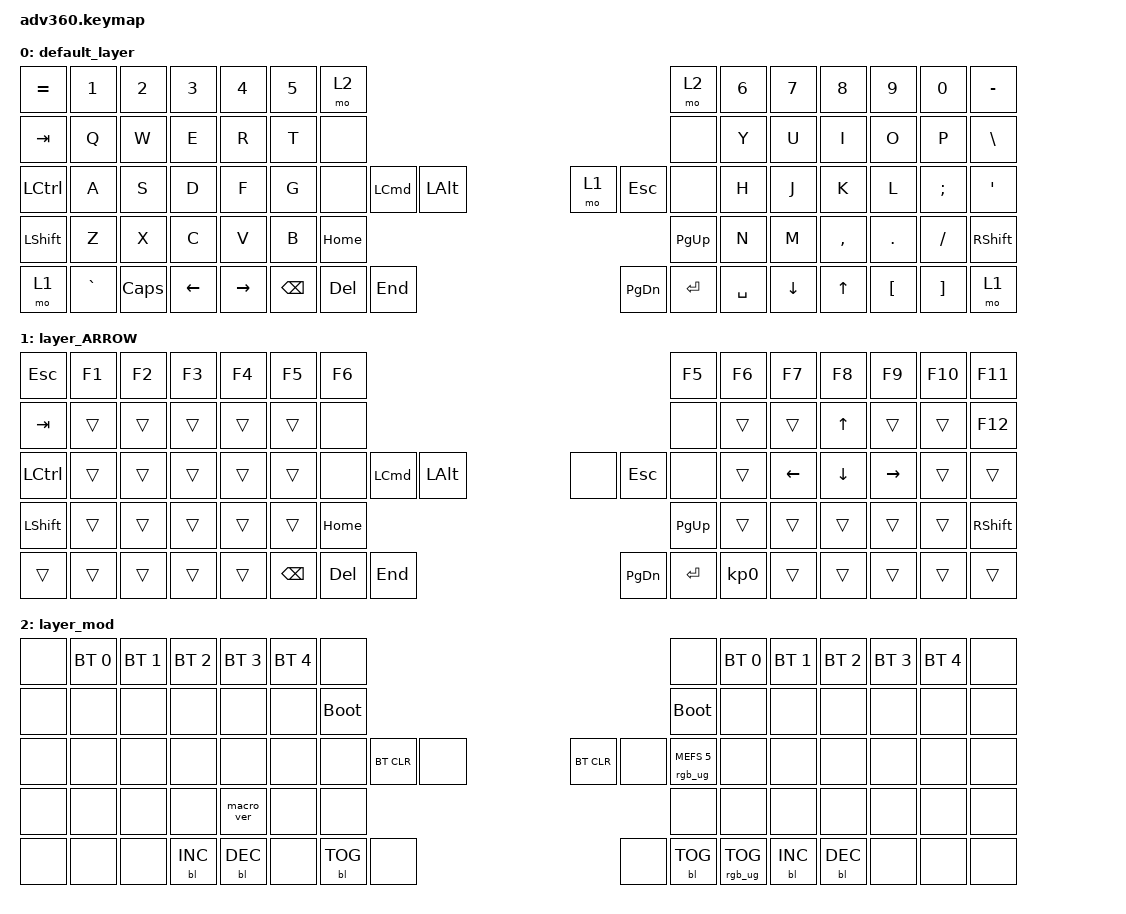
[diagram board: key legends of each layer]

/*
 * Copyright (c) 2020 The ZMK Contributors
 *
 * SPDX-License-Identifier: MIT
 */


/* THIS FILE WAS GENERATED!
 *
 * This file was generated automatically. You may or may not want to
 * edit it directly.
 */

#include <behaviors.dtsi>
#include <dt-bindings/zmk/keys.h>
#include <dt-bindings/zmk/bt.h>
#include <dt-bindings/zmk/rgb.h>
#include <dt-bindings/zmk/backlight.h>

/ {
  behaviors {
    #include "macros.dtsi"
    #include "version.dtsi"

    hm: homerow_mods {
        compatible = "zmk,behavior-hold-tap";
        label = "HOMEROW_MODS";
        #binding-cells = <2>;
        tapping-term-ms = <200>;
        quick_tap_ms = <175>;
        flavor = "tap-preferred";
        bindings = <&kp>, <&kp>;
    };
  };

    keymap {
        compatible = "zmk,keymap";


        default_layer {
            bindings = <
 &kp EQUAL     &kp N1    &kp N2    &kp N3     &kp N4  &kp N5               &mo 2                                                                        &mo 2  &kp N6    &kp N7     &kp N8    &kp N9    &kp N0  &kp MINUS
   &kp TAB      &kp Q     &kp W     &kp E      &kp R   &kp T               &none                                                                        &none   &kp Y     &kp U      &kp I     &kp O     &kp P   &kp BSLH
 &kp LCTRL      &kp A     &kp S     &kp D      &kp F   &kp G               &none  &kp LEFT_COMMAND  &kp LALT                      &mo 1    &kp ESC      &none   &kp H     &kp J      &kp K     &kp L  &kp SEMI    &kp SQT
 &kp LSHFT      &kp Z     &kp X     &kp C      &kp V   &kp B                                        &kp HOME                  &kp PG_UP                         &kp N     &kp M  &kp COMMA   &kp DOT  &kp FSLH  &kp RSHFT
     &mo 1  &kp GRAVE  &kp CAPS  &kp LEFT  &kp RIGHT                    &kp BSPC           &kp DEL   &kp END                  &kp PG_DN  &kp ENTER  &kp SPACE          &kp DOWN     &kp UP  &kp LBKT  &kp RBKT      &mo 1
            >;
        };

        layer_ARROW {
            bindings = <
   &kp ESC  &kp F1  &kp F2  &kp F3  &kp F4  &kp F5              &kp F6                                                                       &kp F5  &kp F6    &kp F7    &kp F8     &kp F9  &kp F10    &kp F11
   &kp TAB  &trans  &trans  &trans  &trans  &trans               &none                                                                        &none  &trans    &trans    &kp UP     &trans   &trans    &kp F12
 &kp LCTRL  &trans  &trans  &trans  &trans  &trans               &none  &kp LEFT_COMMAND  &kp LALT                      &none    &kp ESC      &none  &trans  &kp LEFT  &kp DOWN  &kp RIGHT   &trans     &trans
 &kp LSHFT  &trans  &trans  &trans  &trans  &trans                                        &kp HOME                  &kp PG_UP                        &trans    &trans    &trans     &trans   &trans  &kp RSHFT
    &trans  &trans  &trans  &trans  &trans                    &kp BSPC           &kp DEL   &kp END                  &kp PG_DN  &kp ENTER  &kp KP_N0            &trans    &trans     &trans   &trans     &trans
            >;
        };

        layer_mod {
            bindings = <
  &none  &bt BT_SEL 0  &bt BT_SEL 1  &bt BT_SEL 2  &bt BT_SEL 3  &bt BT_SEL 4                  &none                                                                               &none  &bt BT_SEL 0  &bt BT_SEL 1  &bt BT_SEL 2  &bt BT_SEL 3  &bt BT_SEL 4   &none
  &none         &none         &none         &none         &none         &none            &bootloader                                                                         &bootloader         &none         &none         &none         &none         &none   &none
  &none         &none         &none         &none         &none         &none                  &none  &bt BT_CLR   &none                  &bt BT_CLR       &none  &rgb_ug RGB_MEFS_CMD 5         &none         &none         &none         &none         &none   &none
  &none         &none         &none         &none    &macro_ver         &none                                      &none                       &none                                             &none         &none         &none         &none         &none   &none
  &none         &none         &none    &bl BL_INC    &bl BL_DEC                                &none  &bl BL_TOG   &none                       &none  &bl BL_TOG         &rgb_ug RGB_TOG                  &bl BL_INC    &bl BL_DEC         &none         &none   &none
            >;
        };

    };
};
